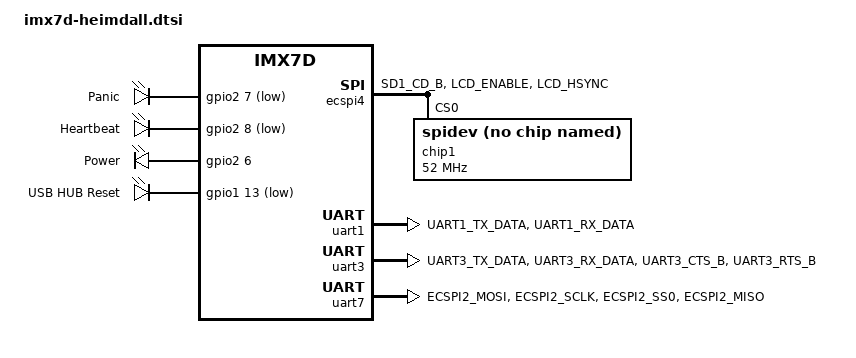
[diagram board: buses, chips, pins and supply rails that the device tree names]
/*
 * Copyright (C) 2015 Freescale Semiconductor, Inc.
 * Copyright (C) 2016-2017 Variscite Ltd.
 *
 * This program is free software; you can redistribute it and/or modify
 * it under the terms of the GNU General Public License version 2 as
 * published by the Free Software Foundation.
 */
#include <dt-bindings/input/input.h>
#include "imx7d-tt-common.dtsi"

/ {
	leds {
		compatible = "gpio-leds";
		pinctrl-names = "default";
		pinctrl-0 = <&pinctrl_gpio_leds>;
		panic {
			label = "Panic";
			gpios = <&gpio2 7 GPIO_ACTIVE_LOW>;
			panic-indicator;
		};
		htb {
			label = "Heartbeat";
			gpios = <&gpio2 8 GPIO_ACTIVE_LOW>;
			linux,default-trigger = "heartbeat";
			panic-indicator;
		};
		hdd {
			label = "Power";
			gpios = <&gpio2 6 GPIO_ACTIVE_HIGH>;
			linux,default-trigger = "disk-activity";
		};
		hub_reset {
			label = "USB HUB Reset";
			gpios = <&gpio1 13 GPIO_ACTIVE_LOW>;
			default-state = "off";
		};
	};
};

&cpu0 {
	arm-supply = <&sw1a_reg>;
};

&clks {
	assigned-clocks = <&clks IMX7D_PLL_AUDIO_POST_DIV>;
	assigned-clock-rates = <884736000>;
};

&ecspi4 {
	fsl,spi-num-chipselects = <0>;
	/*fsl,spi-num-chipselects = <1>;*/
	pinctrl-names = "default";
	pinctrl-0 = <&pinctrl_ecspi4>;
	/*cs-gpios = <&gpio6 22 0>;*/
	status = "okay";
	chip1: spidev@0 {
		compatible = "var,spidev";
		spi-max-frequency = <52000000>;
		reg = <0>;
	};
};

&iomuxc {
	pinctrl-names = "default", "sleep";
	pinctrl-0 = <&pinctrl_hog_1>;
	pinctrl-1 = <&pinctrl_hog_1_sleep>;

	imx7d-sdb {
		pinctrl_hog_1: hoggrp-1 {
			fsl,pins = <
				MX7D_PAD_GPIO1_IO14__GPIO1_IO14		0x80000000  /* bt reg on */
				MX7D_PAD_EPDC_PWR_COM__GPIO2_IO30	0x80000000  /* capacitive touch irq */
				MX7D_PAD_SD2_RESET_B__GPIO5_IO11	0x59  /* ethphy0 reset */
				MX7D_PAD_UART2_TX_DATA__GPIO4_IO3	0x59  /* ethphy1 reset */
				MX7D_PAD_SD1_WP__CCM_CLKO2		0xb0  /* camera clock */
				MX7D_PAD_I2C3_SCL__GPIO4_IO12		0x80000000 /* Nordic SWDIO */
				MX7D_PAD_I2C3_SDA__GPIO4_IO13		0x80000000 /* Nordic SWDCLK */
				MX7D_PAD_LCD_CLK__GPIO3_IO0			0x80000000 /* Pin header */
				MX7D_PAD_GPIO1_IO10__GPIO1_IO10		0x80000000 /* Pin header */
				MX7D_PAD_SAI1_RX_SYNC__GPIO6_IO16	0x80000000 /* Pin header */
				MX7D_PAD_SAI1_RX_BCLK__GPIO6_IO17	0x80000000 /* Pin header */
				MX7D_PAD_SAI2_RX_DATA__GPIO6_IO21	0x80000000 /* Pin header */
				MX7D_PAD_LPSR_GPIO1_IO02__GPIO1_IO2	0x80000000 /* Pin header */
				MX7D_PAD_SD1_DATA3__GPIO5_IO8		0x80000000 /* Pin header */
				MX7D_PAD_SD1_DATA0__GPIO5_IO5		0x80000000 /* Pin header */
				MX7D_PAD_LPSR_GPIO1_IO00__GPIO1_IO0	0x80000000 /* Pin header */
				MX7D_PAD_SAI2_TX_DATA__GPIO6_IO22	0x80000000 /* Pin header */
				MX7D_PAD_EPDC_DATA11__GPIO2_IO11	0x80000000 /* JST LED Power */
				MX7D_PAD_LCD_DATA22__GPIO3_IO27		0x80000000 /* JST LED Link */
				MX7D_PAD_LCD_DATA21__GPIO3_IO26		0x80000000 /* JST LED TX/RX */
				MX7D_PAD_EPDC_DATA14__GPIO2_IO14    0x80000000 /* JST LED BT */
			>;
		};
		
		pinctrl_gpio_leds: gpio_ledsgrp {
			fsl,pins = <
				MX7D_PAD_EPDC_DATA06__GPIO2_IO6		0x59  /* LED R */
				MX7D_PAD_EPDC_DATA08__GPIO2_IO8		0x59  /* LED G */
				MX7D_PAD_EPDC_DATA07__GPIO2_IO7		0x59  /* LED B */
				MX7D_PAD_GPIO1_IO13__GPIO1_IO13		0x59  /* USB hub reset */
			>;
		};

		pinctrl_hog_1_sleep: hoggrp-1sleep {
			fsl,pins = <
				MX7D_PAD_GPIO1_IO14__GPIO1_IO14		0x10  /* bt reg on */
				MX7D_PAD_EPDC_PWR_COM__GPIO2_IO30	0x10  /* capacitive touch irq */
				MX7D_PAD_SD2_RESET_B__ECSPI3_RDY	0x10  /* ethphy0 reset */
				MX7D_PAD_UART2_TX_DATA__I2C2_SDA	0x10  /* ethphy1 reset */
				MX7D_PAD_EPDC_DATA06__GPIO2_IO6		0x10  /* LED */
				MX7D_PAD_SD1_WP__GPIO5_IO1		0x10  /* camera clock */
			>;
		};

		pinctrl_ecspi4: ecspi4grp {
			fsl,pins = <
				MX7D_PAD_SD1_CD_B__ECSPI4_MISO		0x2 /* 118 */
				MX7D_PAD_LCD_ENABLE__ECSPI4_MOSI	0x2 /* 42 */
				MX7D_PAD_LCD_HSYNC__ECSPI4_SCLK		0x2 /* 44 */
				/*MX7D_PAD_SAI2_TX_DATA__GPIO6_IO22	0x80000000*/ /* Pin header */
			>;
		};

		pinctrl_uart1: uart1grp {
			fsl,pins = <
				MX7D_PAD_UART1_TX_DATA__UART1_DCE_TX	0x79
				MX7D_PAD_UART1_RX_DATA__UART1_DCE_RX	0x79
			>;
		};

		pinctrl_uart1_sleep: uart1sleep_grp {
			fsl,pins = <
				MX7D_PAD_UART1_TX_DATA__GPIO4_IO1	0x10
				MX7D_PAD_UART1_RX_DATA__GPIO4_IO0	0x10
			>;
		};

		pinctrl_uart3: uart3grp {
			fsl,pins = <
				MX7D_PAD_UART3_TX_DATA__UART3_DCE_TX	0x79
				MX7D_PAD_UART3_RX_DATA__UART3_DCE_RX	0x79
				MX7D_PAD_UART3_CTS_B__UART3_DCE_CTS	0x79
				MX7D_PAD_UART3_RTS_B__UART3_DCE_RTS	0x79
			>;
		};

		pinctrl_uart7: uart7grp {
			fsl,pins = <
				MX7D_PAD_ECSPI2_MOSI__UART7_DCE_TX      0x79
				MX7D_PAD_ECSPI2_SCLK__UART7_DCE_RX	0x79
				MX7D_PAD_ECSPI2_SS0__UART7_DCE_CTS	0x79
				MX7D_PAD_ECSPI2_MISO__UART7_DCE_RTS	0x79
			>;
		};
	};
};

&uart1 {
	pinctrl-names = "default", "sleep";
	pinctrl-0 = <&pinctrl_uart1>;
	pinctrl-1 = <&pinctrl_uart1_sleep>;
	assigned-clocks = <&clks IMX7D_UART1_ROOT_SRC>;
	assigned-clock-parents = <&clks IMX7D_OSC_24M_CLK>;
	status = "okay";
};

&uart3 {
	pinctrl-names = "default";
	pinctrl-0 = <&pinctrl_uart3>;
	assigned-clocks = <&clks IMX7D_UART3_ROOT_SRC>;
	assigned-clock-parents = <&clks IMX7D_PLL_SYS_MAIN_240M_CLK>;
	uart-has-rtscts;
	status = "okay";
};

&uart7 {
	pinctrl-names = "default";
	pinctrl-0 = <&pinctrl_uart7>;
	assigned-clocks = <&clks IMX7D_UART7_ROOT_SRC>;
	assigned-clock-parents = <&clks IMX7D_PLL_SYS_MAIN_240M_CLK>;
	uart-has-rtscts;
	status = "okay";
};
